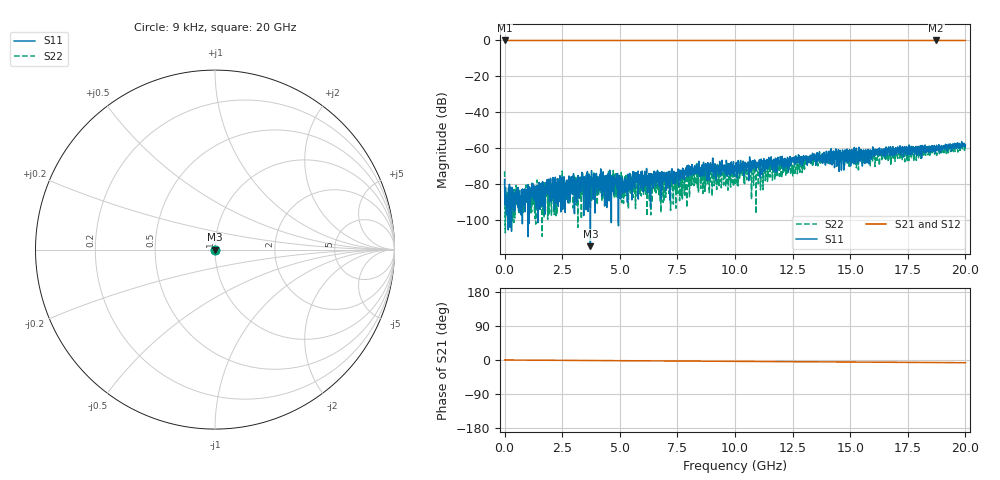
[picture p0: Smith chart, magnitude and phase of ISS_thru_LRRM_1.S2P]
!  2-Port S-parameters saved by WinCal
! VAR MeasName=S-Parameters (CALIBRATED_DATA) read from VNA (P5004A)
! VAR MeasDate=26/04/2024 16:07:35
! VAR NAME=ISS_thru_LRRM
! VAR FILENAME=ISS_thru_LRRM_1.S2P
! VAR DATE=26/04/2024 16:07:35
! VAR PHYS_PORTS=1,2
! VAR ObjTypeName=DATASET
! VAR IndexType=Frequency
# Hz S MA R 50
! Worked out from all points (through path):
!   2000 points, 9 kHz to 20 GHz, reference 50 ohm
!   highest |S21| = 0.00 dB at 9 kHz (marker M1); lowest = 0.0 dB at 18.73 GHz (marker M2)
!   lowest |S11| = -114.8 dB at 3.722 GHz (marker M3), VSWR 1.00, Z = 50 + j3.25e-05 ohm
!   |S11| at or under -10 dB: start of sweep to end of sweep
!   |S22| runs from -109.3 to -57.6 dB; largest |S21 - S12| = 0.0015
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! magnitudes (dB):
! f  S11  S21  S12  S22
! 9 kHz  -77.6  0.0  0.0  -73.0
! 110.1 MHz  -92.7  0.0  0.0  -85.9
! 3.342 GHz  -82.5  0.0  0.0  -83.1
! 3.722 GHz  -114.8  0.0  0.0  -93.1
! 4.472 GHz  -76.1  0.0  0.0  -87.0
! 5.213 GHz  -84.8  0.0  0.0  -76.0
! 5.653 GHz  -79.8  0.0  0.0  -85.6
! 5.973 GHz  -72.9  0.0  0.0  -77.3
! 6.563 GHz  -77.0  0.0  0.0  -78.3
! 6.673 GHz  -80.2  0.0  0.0  -76.7
! 7.454 GHz  -76.0  0.0  0.0  -73.4
! 7.944 GHz  -72.3  0.0  0.0  -74.1
! 8.564 GHz  -75.3  0.0  0.0  -71.6
! 8.944 GHz  -69.1  0.0  0.0  -70.7
! 10.01 GHz  -72.9  0.0  0.0  -79.5
! 10.28 GHz  -69.4  0.0  0.0  -69.7
! 11.32 GHz  -72.1  0.0  0.0  -78.3
! 13.34 GHz  -65.2  0.0  0.0  -66.3
! 15.73 GHz  -68.4  0.0  0.0  -63.1
! 16.67 GHz  -59.4  0.0  0.0  -67.5
! 18.73 GHz  -59.4  0.0  0.0  -59.7
! 20 GHz  -58.5  0.0  0.0  -60.0
